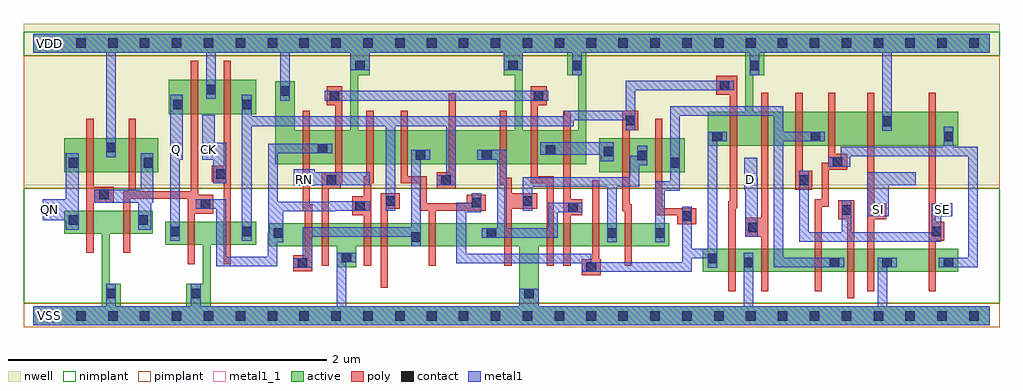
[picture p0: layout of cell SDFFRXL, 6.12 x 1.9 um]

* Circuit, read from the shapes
.subckt SDFFRXL CK D Q QN RN SE SI VDD VSS
M1 VSS n1 QN VSS nfet w=0.145u l=0.045u
M2 n1 n2 VSS VSS nfet w=0.145u l=0.045u
M3 VSS n2 Q VSS nfet w=0.145u l=0.045u
M4 n3 CK VSS VSS nfet w=0.145u l=0.045u
M5 n4 n5 n2 VSS nfet w=0.145u l=0.045u
M6 VSS RN n4 VSS nfet w=0.145u l=0.045u
M7 n6 n2 VSS VSS nfet w=0.145u l=0.045u
M8 n5 n3 n6 VSS nfet w=0.145u l=0.045u
M9 n7 n8 n5 VSS nfet w=0.145u l=0.045u
M10 VSS n9 n7 VSS nfet w=0.145u l=0.045u
M11 n10 RN VSS VSS nfet w=0.145u l=0.045u
M12 n11 n7 n10 VSS nfet w=0.145u l=0.045u
M13 n9 n8 n11 VSS nfet w=0.145u l=0.045u
M14 n12 n3 n9 VSS nfet w=0.145u l=0.045u
M15 VSS n3 n8 VSS nfet w=0.145u l=0.045u
M16 n13 D VSS VSS nfet w=0.145u l=0.045u
M17 n12 n14 n13 VSS nfet w=0.145u l=0.045u
M18 n15 SE n12 VSS nfet w=0.145u l=0.045u
M19 VSS SI n15 VSS nfet w=0.145u l=0.045u
M20 n14 SE VSS VSS nfet w=0.145u l=0.045u
M21 VDD n1 QN VDD pfet w=0.215u l=0.045u
M22 n1 n2 VDD VDD pfet w=0.215u l=0.045u
M23 VDD n2 Q VDD pfet w=0.215u l=0.045u
M24 n3 CK VDD VDD pfet w=0.215u l=0.045u
M25 n2 n5 VDD VDD pfet w=0.215u l=0.045u
M26 VDD RN n2 VDD pfet w=0.215u l=0.045u
M27 n16 n2 VDD VDD pfet w=0.215u l=0.045u
M28 n5 n8 n16 VDD pfet w=0.215u l=0.045u
M29 n7 n3 n5 VDD pfet w=0.215u l=0.045u
M30 VDD n9 n7 VDD pfet w=0.215u l=0.045u
M31 n17 RN VDD VDD pfet w=0.215u l=0.045u
M32 VDD n7 n17 VDD pfet w=0.215u l=0.045u
M33 n9 n3 n17 VDD pfet w=0.215u l=0.045u
M34 n12 n8 n9 VDD pfet w=0.215u l=0.045u
M35 VDD n3 n8 VDD pfet w=0.215u l=0.045u
M36 n18 D VDD VDD pfet w=0.215u l=0.045u
M37 n12 SE n18 VDD pfet w=0.215u l=0.045u
M38 n19 n14 n12 VDD pfet w=0.215u l=0.045u
M39 VDD SI n19 VDD pfet w=0.215u l=0.045u
M40 n14 SE VDD VDD pfet w=0.215u l=0.045u
.ends

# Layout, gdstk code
import gdstk
lib = gdstk.Library(unit=1e-6, precision=5e-10)
def R(c, l, rs):  # rectangles x0, y0, x1, y1
    for r in rs: c.add(gdstk.rectangle(r[:2], r[2:], *l))
def A(c, l, x, y, w, h, nx, ny, dx, dy):  # array of equal rectangles
    R(c, l, [(x+i*dx, y+j*dy, x+i*dx+w, y+j*dy+h) for i in range(nx) for j in range(ny)])
def P(c, l, *ps):  # polygons
    for p in ps: c.add(gdstk.Polygon(p, *l))
active = (1, 0)
nwell = (2, 0)
poly = (3, 0)
nimplant = (4, 0)
pimplant = (5, 0)
contact = (6, 0)
metal1 = (7, 0)
metal1_1 = (7, 1)

sdffrxl = lib.new_cell('SDFFRXL')
R(sdffrxl, active, [(4.2,0.275,5.8,0.42), (0.195,0.9,0.785,1.115), (3.55,0.9,4.085,1.115), (0.85,1.265,1.4,1.48)])
P(sdffrxl, active, [(0,1.77),(6,1.77),(6,1.65),(4.585,1.65),(4.585,1.51),(4.515,1.51),(4.515,1.28),(5.8,1.28),(5.8,1.065),(4.23,1.065),(4.23,1.28),(4.465,1.28),(4.465,1.65),(3.47,1.65),(3.47,0.95),(1.52,0.95),(1.52,1.47),(1.64,1.47),(1.64,1.165),(1.99,1.165),(1.99,1.65),(2.11,1.65),(2.11,1.51),(2.04,1.51),(2.04,1.165),(3.02,1.165),(3.02,1.51),(2.95,1.51),(2.95,1.65),(3.07,1.65),(3.07,1.165),(3.42,1.165),(3.42,1.51),(3.35,1.51),(3.35,1.65),(0,1.65)],
  [(0.195,0.66),(0.75,0.66),(0.75,0.515),(0.48,0.515),(0.48,0.2),(0.55,0.2),(0.55,0.06),(0.96,0.06),(0.96,0.2),(1.065,0.2),(1.065,0.445),(0.83,0.445),(0.83,0.59),(1.4,0.59),(1.4,0.445),(1.115,0.445),(1.115,0.06),(3.05,0.06),(3.05,0.435),(2.025,0.435),(2.025,0.305),(1.905,0.305),(1.905,0.435),(1.48,0.435),(1.48,0.58),(3.99,0.58),(3.99,0.435),(3.17,0.435),(3.17,0.06),(6,0.06),(6,-0.06),(0,-0.06),(0,0.06),(0.43,0.06),(0.43,0.515),(0.195,0.515)])
R(sdffrxl, nwell, [(-0.06,0.82,6.06,1.83)])
P(sdffrxl, poly, [(0.6,1.235),(0.645,1.235),(0.645,0.78),(0.99,0.78),(0.99,1.6),(1.035,1.6),(1.035,0.76),(1.13,0.76),(1.13,0.64),(1.015,0.64),(1.015,0.325),(0.97,0.325),(0.97,0.735),(0.61,0.735),(0.61,0.395),(0.565,0.395),(0.565,0.78),(0.6,0.78)],
  [(1.195,1.6),(1.24,1.6),(1.24,0.325),(1.195,0.325),(1.195,0.84),(1.12,0.84),(1.12,0.94),(1.195,0.94)],
  [(0.335,1.235),(0.38,1.235),(0.38,0.81),(0.505,0.81),(0.505,0.71),(0.38,0.71),(0.38,0.395),(0.335,0.395)],
  [(1.84,1.44),(1.94,1.44),(1.94,0.83),(1.93,0.83),(1.93,0.8),(1.855,0.8),(1.855,0.315),(1.81,0.315),(1.81,0.9),(1.895,0.9),(1.895,1.32),(1.84,1.32)],
  [(1.69,1.285),(1.735,1.285),(1.735,0.7),(1.75,0.7),(1.75,0.28),(1.63,0.28),(1.63,0.38),(1.705,0.38),(1.705,0.66),(1.69,0.66)],
  [(2.09,1.285),(2.135,1.285),(2.135,0.83),(2.12,0.83),(2.12,0.315),(2.075,0.315),(2.075,0.63),(2,0.63),(2,0.75),(2.075,0.75),(2.075,0.875),(2.09,0.875)],
  [(2.305,1.285),(2.35,1.285),(2.35,0.875),(2.47,0.875),(2.47,0.705),(2.72,0.705),(2.72,0.76),(2.84,0.76),(2.84,0.66),(2.525,0.66),(2.525,0.315),(2.48,0.315),(2.48,0.66),(2.425,0.66),(2.425,0.83),(2.305,0.83)],
  [(2.605,1.395),(2.65,1.395),(2.65,0.8),(2.53,0.8),(2.53,0.9),(2.605,0.9)],
  [(2.925,1.285),(2.97,1.285),(2.97,0.865),(3,0.865),(3,0.77),(3.16,0.77),(3.16,0.67),(3,0.67),(3,0.315),(2.955,0.315),(2.955,0.82),(2.925,0.82)],
  [(3.12,1.44),(3.22,1.44),(3.22,1.32),(3.165,1.32),(3.165,0.875),(3.265,0.875),(3.265,0.315),(3.22,0.315),(3.22,0.83),(3.12,0.83)],
  [(3.325,1.285),(3.37,1.285),(3.37,0.73),(3.445,0.73),(3.445,0.63),(3.37,0.63),(3.37,0.315),(3.325,0.315)],
  [(4.285,1.505),(4.415,1.505),(4.415,0.675),(4.405,0.675),(4.405,0.155),(4.36,0.155),(4.36,0.72),(4.37,0.72),(4.37,1.385),(4.285,1.385)],
  [(3.695,1.285),(3.795,1.285),(3.795,1.165),(3.74,1.165),(3.74,0.7),(3.755,0.7),(3.755,0.315),(3.71,0.315),(3.71,0.655),(3.695,0.655)],
  [(3.9,1.235),(3.945,1.235),(3.945,0.675),(4.16,0.675),(4.16,0.575),(4.04,0.575),(4.04,0.63),(3.9,0.63)],
  [(4.565,1.4),(4.61,1.4),(4.61,0.155),(4.565,0.155),(4.565,0.495),(4.465,0.495),(4.465,0.615),(4.565,0.615)],
  [(4.78,1.4),(4.825,1.4),(4.825,0.91),(4.885,0.91),(4.885,0.79),(4.78,0.79)],
  [(4.985,1.4),(5.03,1.4),(5.03,1.015),(5.105,1.015),(5.105,0.915),(4.99,0.915),(4.99,0.685),(4.945,0.685),(4.945,0.155),(4.9,0.155),(4.9,0.73),(4.945,0.73),(4.945,0.96),(4.985,0.96)],
  [(5.23,1.4),(5.275,1.4),(5.275,0.705),(5.35,0.705),(5.35,0.605),(5.275,0.605),(5.275,0.155),(5.23,0.155)],
  [(5.615,1.4),(5.66,1.4),(5.66,0.59),(5.715,0.59),(5.715,0.47),(5.66,0.47),(5.66,0.155),(5.615,0.155)],
  [(2.18,0.77),(2.3,0.77),(2.3,0.67),(2.225,0.67),(2.225,0.175),(2.18,0.175)],
  [(3.505,0.85),(3.55,0.85),(3.55,0.355),(3.56,0.355),(3.56,0.255),(3.44,0.255),(3.44,0.355),(3.505,0.355)],
  [(5.05,0.725),(5.15,0.725),(5.15,0.11),(5.105,0.11),(5.105,0.605),(5.05,0.605)])
R(sdffrxl, nimplant, [(-0.06,0.08,6.06,0.8), (-0.06,1.63,6.06,1.78)])
R(sdffrxl, pimplant, [(-0.06,-0.07,6.06,0.08), (-0.06,0.8,6.06,1.63)])
A(sdffrxl, contact, 0.07, -0.03, 0.06, 0.06, 30, 2, 0.2, 1.71)
R(sdffrxl, contact, [(0.46,0.11,0.52,0.17), (0.99,0.11,1.05,0.17), (3.08,0.11,3.14,0.17), (3.47,0.275,3.53,0.335), (1.66,0.3,1.72,0.36), (4.455,0.305,4.515,0.365), (4.995,0.305,5.055,0.365), (5.325,0.305,5.385,0.365), (5.71,0.305,5.77,0.365), (4.23,0.33,4.29,0.39), (1.935,0.335,1.995,0.395), (2.37,0.465,2.43,0.525), (1.51,0.49,1.57,0.55), (2.845,0.49,2.905,0.55), (3.6,0.49,3.66,0.55), (3.9,0.49,3.96,0.55), (0.86,0.5,0.92,0.56), (1.31,0.5,1.37,0.56), (5.635,0.5,5.695,0.56), (4.485,0.525,4.545,0.585), (0.225,0.57,0.285,0.63), (0.66,0.57,0.72,0.63), (4.07,0.595,4.13,0.655), (5.26,0.625,5.32,0.685), (5.07,0.635,5.13,0.695), (3.355,0.65,3.415,0.71), (2.02,0.66,2.08,0.72), (1.05,0.67,1.11,0.73), (2.75,0.68,2.81,0.74), (2.21,0.69,2.27,0.75), (3.07,0.69,3.13,0.75), (0.415,0.73,0.475,0.79), (1.84,0.82,1.9,0.88), (2.56,0.82,2.62,0.88), (4.805,0.82,4.865,0.88), (1.15,0.86,1.21,0.92), (0.225,0.93,0.285,0.99), (0.695,0.93,0.755,0.99), (3.995,0.93,4.055,0.99), (5.015,0.935,5.075,0.995), (3.79,0.975,3.85,1.035), (2.4,0.98,2.46,1.04), (2.815,0.98,2.875,1.04), (3.58,1,3.64,1.06), (3.215,1.01,3.275,1.07), (1.785,1.02,1.845,1.08), (0.46,1.025,0.52,1.085), (4.26,1.095,4.32,1.155), (4.875,1.095,4.935,1.155), (5.71,1.095,5.77,1.155), (5.325,1.19,5.385,1.25), (3.715,1.195,3.775,1.255), (0.88,1.295,0.94,1.355), (1.31,1.295,1.37,1.355), (1.86,1.35,1.92,1.41), (3.14,1.35,3.2,1.41), (1.55,1.38,1.61,1.44), (1.085,1.39,1.145,1.45), (4.305,1.415,4.365,1.475), (2.02,1.54,2.08,1.6), (2.98,1.54,3.04,1.6), (3.38,1.54,3.44,1.6), (4.495,1.54,4.555,1.6)])
R(sdffrxl, metal1, [(1.83,1.35,3.23,1.41)])
P(sdffrxl, metal1, [(0,1.77),(6,1.77),(6,1.65),(5.385,1.65),(5.385,1.16),(5.325,1.16),(5.325,1.65),(4.555,1.65),(4.555,1.51),(4.495,1.51),(4.495,1.65),(3.44,1.65),(3.44,1.51),(3.38,1.51),(3.38,1.65),(3.07,1.65),(3.07,1.54),(2.95,1.54),(2.95,1.65),(2.11,1.65),(2.11,1.54),(1.99,1.54),(1.99,1.65),(1.61,1.65),(1.61,1.35),(1.55,1.35),(1.55,1.65),(1.145,1.65),(1.145,1.36),(1.085,1.36),(1.085,1.65),(0.52,1.65),(0.52,0.995),(0.46,0.995),(0.46,1.65),(0,1.65)],
  [(0.86,1.385),(0.94,1.385),(0.94,0.98),(0.92,0.98),(0.92,0.47),(0.86,0.47)],
  [(3.715,1.475),(4.395,1.475),(4.395,1.415),(3.775,1.415),(3.775,1.165),(3.715,1.165),(3.715,1.225),(3.39,1.225),(3.39,1.19),(2.65,1.19),(2.65,0.82),(2.53,0.82),(2.53,0.88),(2.59,0.88),(2.59,1.19),(2.27,1.19),(2.27,0.66),(2.21,0.66),(2.21,1.19),(1.37,1.19),(1.37,0.47),(1.31,0.47),(1.31,1.385),(1.37,1.385),(1.37,1.25),(3.33,1.25),(3.33,1.285),(3.715,1.285)],
  [(0.205,1.02),(0.285,1.02),(0.285,0.54),(0.205,0.54),(0.205,0.6),(0.06,0.6),(0.06,0.73),(0.205,0.73)],
  [(0.675,1.02),(0.755,1.02),(0.755,0.71),(0.74,0.71),(0.74,0.54),(0.66,0.54),(0.66,0.71),(0.385,0.71),(0.385,0.79),(0.675,0.79)],
  [(1.06,1.26),(1.14,1.26),(1.14,1.085),(1.21,1.085),(1.21,0.83),(1.13,0.83),(1.13,0.98),(1.06,0.98)],
  [(1.475,1.08),(1.875,1.08),(1.875,1.02),(1.535,1.02),(1.535,0.715),(1.865,0.715),(1.865,0.72),(2.11,0.72),(2.11,0.66),(1.9,0.66),(1.9,0.655),(1.57,0.655),(1.57,0.46),(1.53,0.46),(1.53,0.31),(1.15,0.31),(1.15,0.67),(1.02,0.67),(1.02,0.73),(1.21,0.73),(1.21,0.37),(1.47,0.37),(1.47,0.52),(1.475,0.52)],
  [(1.635,0.92),(1.765,0.92),(1.765,0.9),(2.11,0.9),(2.11,0.82),(1.765,0.82),(1.765,0.815),(1.635,0.815)],
  [(2.37,1.04),(2.49,1.04),(2.49,0.98),(2.43,0.98),(2.43,0.435),(2.37,0.435),(2.37,0.495),(1.75,0.495),(1.75,0.3),(1.63,0.3),(1.63,0.36),(1.69,0.36),(1.69,0.555),(2.37,0.555)],
  [(3.995,1.315),(4.705,1.315),(4.705,1.155),(4.965,1.155),(4.965,1.095),(4.705,1.095),(4.705,0.365),(5.085,0.365),(5.085,0.305),(4.645,0.305),(4.645,1.255),(4.055,1.255),(4.055,0.785),(3.96,0.785),(3.96,0.46),(3.9,0.46),(3.9,0.845),(3.995,0.845)],
  [(3.18,1.09),(3.64,1.09),(3.64,0.97),(3.56,0.97),(3.56,1.01),(3.18,1.01)],
  [(2.785,1.04),(2.97,1.04),(2.97,0.55),(3.23,0.55),(3.23,0.71),(3.445,0.71),(3.445,0.65),(3.29,0.65),(3.29,0.49),(2.815,0.49),(2.815,0.55),(2.91,0.55),(2.91,0.98),(2.785,0.98)],
  [(4.23,1.155),(4.35,1.155),(4.35,1.095),(4.29,1.095),(4.29,0.3),(4.23,0.3),(4.23,0.36),(4.13,0.36),(4.13,0.275),(3.44,0.275),(3.44,0.33),(2.655,0.33),(2.655,0.71),(2.75,0.71),(2.75,0.77),(2.81,0.77),(2.81,0.65),(2.715,0.65),(2.715,0.39),(3.5,0.39),(3.5,0.335),(4.07,0.335),(4.07,0.685),(4.13,0.685),(4.13,0.42),(4.23,0.42)],
  [(1.905,0.395),(2.025,0.395),(2.025,0.335),(1.965,0.335),(1.965,0.06),(3.05,0.06),(3.05,0.17),(3.17,0.17),(3.17,0.06),(4.455,0.06),(4.455,0.395),(4.515,0.395),(4.515,0.06),(5.295,0.06),(5.295,0.365),(5.415,0.365),(5.415,0.305),(5.355,0.305),(5.355,0.06),(6,0.06),(6,-0.06),(0,-0.06),(0,0.06),(0.46,0.06),(0.46,0.2),(0.52,0.2),(0.52,0.06),(0.99,0.06),(0.99,0.2),(1.05,0.2),(1.05,0.06),(1.905,0.06)],
  [(3.79,1.065),(3.85,1.065),(3.85,0.945),(3.8,0.945),(3.8,0.81),(3.66,0.81),(3.66,0.46),(3.6,0.46),(3.6,0.81),(3.13,0.81),(3.13,0.66),(3.07,0.66),(3.07,0.87),(3.74,0.87),(3.74,1.005),(3.79,1.005)],
  [(5.71,1.185),(5.77,1.185),(5.77,1.06),(5.925,1.06),(5.925,0.305),(5.68,0.305),(5.68,0.365),(5.865,0.365),(5.865,1),(5.125,1),(5.125,0.935),(4.985,0.935),(4.985,0.995),(5.065,0.995),(5.065,1.06),(5.71,1.06)],
  [(4.46,0.99),(4.54,0.99),(4.54,0.87),(4.545,0.87),(4.545,0.495),(4.465,0.495),(4.465,0.79),(4.46,0.79)],
  [(4.805,0.91),(4.865,0.91),(4.865,0.525),(5.07,0.525),(5.07,0.725),(5.13,0.725),(5.13,0.525),(5.635,0.525),(5.635,0.705),(5.765,0.705),(5.765,0.625),(5.695,0.625),(5.695,0.465),(4.805,0.465)],
  [(5.23,0.9),(5.535,0.9),(5.535,0.82),(5.365,0.82),(5.365,0.625),(5.23,0.625)])
R(sdffrxl, metal1_1, [(0.06,-0.04,0.14,0.04), (0.06,0.625,0.14,0.705), (5.26,0.625,5.34,0.705), (5.66,0.625,5.74,0.705), (1.66,0.815,1.74,0.895), (4.46,0.815,4.54,0.895), (0.86,1.005,0.94,1.085), (1.06,1.005,1.14,1.085), (0.06,1.67,0.14,1.75)])
sdffrxl.add(gdstk.Label('Q', (0.9,1.045), layer=7, texttype=1))
sdffrxl.add(gdstk.Label('QN', (0.1,0.665), layer=7, texttype=1))
sdffrxl.add(gdstk.Label('SE', (5.7,0.665), layer=7, texttype=1))
sdffrxl.add(gdstk.Label('SI', (5.3,0.665), layer=7, texttype=1))
sdffrxl.add(gdstk.Label('D', (4.5,0.855), layer=7, texttype=1))
sdffrxl.add(gdstk.Label('RN', (1.7,0.855), layer=7, texttype=1))
sdffrxl.add(gdstk.Label('CK', (1.1,1.045), layer=7, texttype=1))
sdffrxl.add(gdstk.Label('VDD', (0.1,1.71), layer=7, texttype=1))
sdffrxl.add(gdstk.Label('VSS', (0.1,0), layer=7, texttype=1))
sdffrxl.add(gdstk.Label('SDFFRXL', (0,0), layer=63, texttype=0))

lib.write_gds('SDFFRXL.gds')
